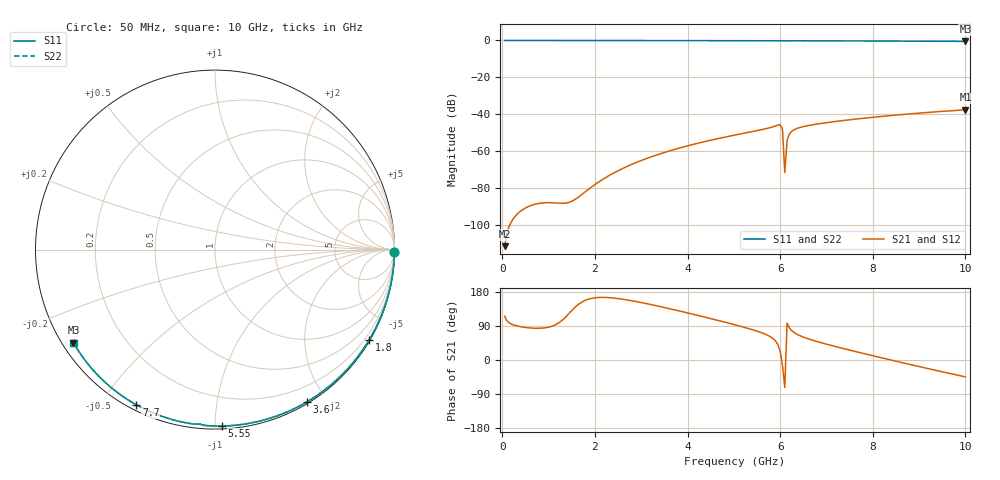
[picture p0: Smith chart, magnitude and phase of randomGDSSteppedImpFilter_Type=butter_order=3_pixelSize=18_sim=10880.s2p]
! freq	dB(S11)	phase(S11)	dB(S12)	phase(S12)
!  dB(S21)	phase(S21)	dB(S22)	phase(S22)
!S-par simulation data
#  GHz  S  DB  R 50
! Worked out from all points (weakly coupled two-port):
!   200 points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, 50 MHz to 10 GHz, reference 50 ohm
!   highest |S21| = -37.53 dB at 10 GHz (marker M1); lowest = -111.3 dB at 50 MHz (marker M2)
!   lowest |S11| = -0.5 dB at 10 GHz (marker M3), VSWR 34.65, Z = 1.57 - j15 ohm
!   |S11| at or under -10 dB: nowhere
!   |S22| runs from -0.5 to 0.0 dB; largest |S21 - S12| = 0
!   S11 on the Smith chart (normalised r, x): 50 MHz: open; 1.8 GHz: 0.03, -3.71; 3.6 GHz: 0.02, -1.77; 5.55 GHz: 0.02, -1.04; 7.7 GHz: 0.02, -0.61; 10 GHz: 0.03, -0.30
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0.05  -0.00 -0.8  -111.35 115.8  -111.35 115.8  -0.00 -0.8
0.9  -0.02 -15.2  -87.87 84.5  -87.87 84.5  -0.02 -15.2
1.75  -0.04 -29.4  -82.74 155.0  -82.74 155.0  -0.04 -29.4
1.8  -0.04 -30.2  -81.76 157.9  -81.76 157.9  -0.04 -30.2
1.9  -0.04 -31.8  -79.84 161.9  -79.84 161.9  -0.04 -31.8
2.25  -0.05 -37.5  -73.95 165.0  -73.95 165.0  -0.05 -37.5
2.65  -0.06 -44.0  -68.69 159.4  -68.69 159.4  -0.06 -44.0
3.4  -0.07 -55.8  -61.42 141.3  -61.42 141.3  -0.07 -55.8
3.6  -0.08 -58.9  -59.86 135.8  -59.86 135.8  -0.08 -58.9
5.05  -0.12 -80.5  -51.06 92.1  -51.06 92.1  -0.12 -80.5
5.55  -0.14 -87.7  -48.55 74.1  -48.55 74.1  -0.14 -87.7
6  -0.18 -94.2  -45.61 23.6  -45.61 23.6  -0.18 -94.1
6.05  -0.21 -94.8  -48.02 -13.7  -48.02 -13.7  -0.21 -94.8
6.1  -0.21 -95.3  -71.46 -72.5  -71.46 -72.5  -0.21 -95.3
6.15  -0.19 -95.9  -54.15 97.1  -54.15 97.1  -0.19 -95.9
6.2  -0.19 -96.6  -50.60 84.7  -50.60 84.7  -0.19 -96.6
6.25  -0.19 -97.3  -49.14 77.5  -49.14 77.5  -0.19 -97.3
6.35  -0.19 -98.7  -47.73 68.7  -47.73 68.7  -0.19 -98.7
6.7  -0.20 -103.5  -45.65 52.2  -45.65 52.2  -0.20 -103.5
7.7  -0.27 -116.9  -42.37 20.1  -42.37 20.1  -0.27 -116.8
8.35  -0.32 -125.3  -40.73 1.1  -40.73 1.1  -0.32 -125.3
10  -0.50 -146.7  -37.53 -44.6  -37.53 -44.6  -0.50 -146.6
